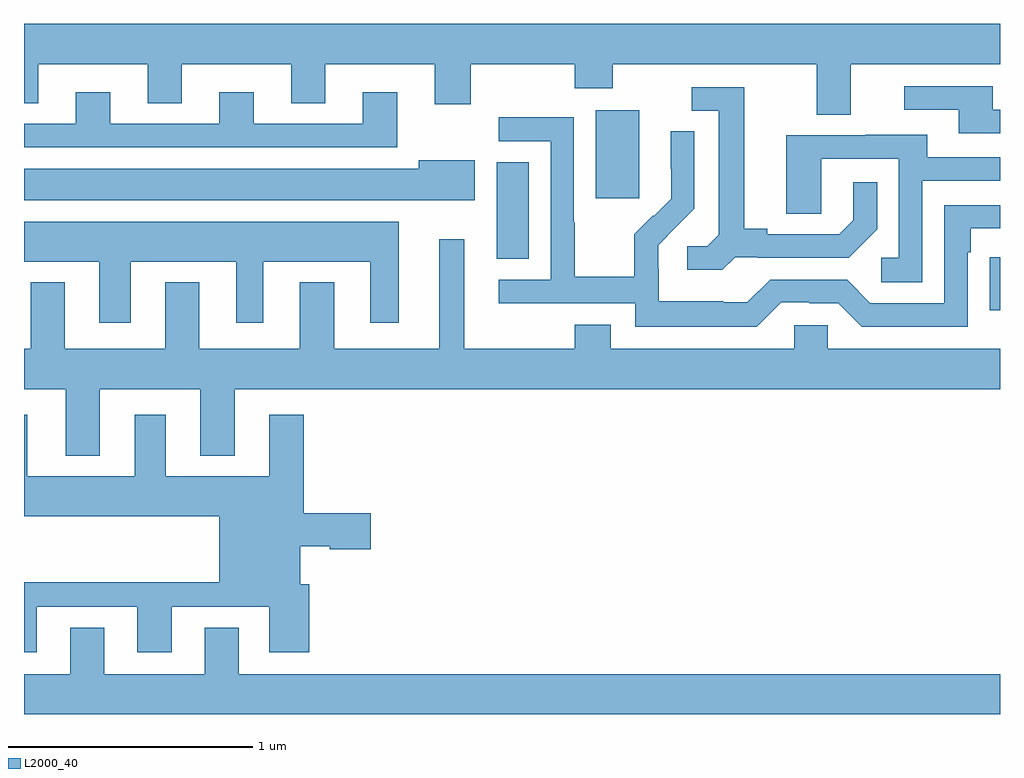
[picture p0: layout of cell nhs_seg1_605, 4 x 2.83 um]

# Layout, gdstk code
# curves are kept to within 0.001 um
import gdstk
lib = gdstk.Library(unit=1e-6, precision=1e-09)
def R(c, l, rs):  # rectangles x0, y0, x1, y1
    for r in rs: c.add(gdstk.rectangle(r[:2], r[2:], *l))
def P(c, l, *ps):  # polygons
    for p in ps: c.add(gdstk.Polygon(p, *l))
L2000_40 = (2000, 40)

nhs_seg1_605 = lib.new_cell('nhs_seg1_605')
R(nhs_seg1_605, L2000_40, [(146.959,576.03,147,576.248), (144.938,576.241,145.069,576.638), (145.343,576.489,145.522,576.85)])
P(nhs_seg1_605, L2000_40, [(146.389,577.04),(147,577.04),(147,577.204),(143,577.204),(143,576.88),(143.059,576.88),(143.059,577.04),(143.507,577.04),(143.507,576.88),(143.647,576.88),(143.647,577.04),(144.095,577.04),(144.095,576.88),(144.235,576.88),(144.235,577.04),(144.683,577.04),(144.683,576.876),(144.831,576.876),(144.831,577.04),(145.258,577.04),(145.258,576.941),(145.413,576.941),(145.413,577.04),(146.249,577.04),(146.249,576.832),(146.389,576.832)],
  [(147,576.852),(146.971,576.852),(146.971,576.948),(146.607,576.948),(146.607,576.852),(146.831,576.852),(146.831,576.756),(147,576.756)],
  [(145.914,576.249),(146.008,576.249),(146.008,576.246),(146.38,576.246),(146.496,576.362),(146.496,576.556),(146.399,576.556),(146.399,576.399),(146.342,576.342),(146.047,576.342),(146.047,576.365),(145.951,576.365),(145.951,576.945),(145.737,576.945),(145.737,576.849),(145.847,576.849),(145.847,576.341),(145.8,576.294),(145.719,576.294),(145.719,576.197),(145.862,576.197)],
  [(144.529,576.925),(144.389,576.925),(144.389,576.795),(143.941,576.795),(143.941,576.925),(143.801,576.925),(143.801,576.795),(143.353,576.795),(143.353,576.925),(143.213,576.925),(143.213,576.795),(143,576.795),(143,576.699),(144.529,576.699)],
  [(146.103,576.063),(146.219,576.063),(146.219,576.06),(146.337,576.06),(146.433,575.964),(146.868,575.964),(146.868,576.269),(146.881,576.269),(146.881,576.366),(147,576.366),(147,576.462),(146.772,576.462),(146.772,576.06),(146.469,576.06),(146.373,576.156),(146.058,576.156),(145.965,576.063),(145.865,576.063),(145.865,576.067),(145.602,576.067),(145.602,576.201),(145.6,576.201),(145.6,576.298),(145.746,576.446),(145.746,576.764),(145.65,576.764),(145.65,576.61),(145.652,576.61),(145.652,576.488),(145.581,576.417),(145.578,576.42),(145.501,576.343),(145.501,576.169),(145.257,576.169),(145.257,576.392),(145.254,576.392),(145.254,576.822),(144.945,576.822),(144.945,576.723),(145.158,576.723),(145.158,576.156),(144.945,576.156),(144.945,576.06),(145.506,576.06),(145.506,575.963),(146.003,575.963)],
  [(146.682,576.561),(147,576.561),(147,576.657),(146.701,576.657),(146.701,576.751),(146.447,576.751),(146.447,576.747),(146.123,576.747),(146.123,576.427),(146.268,576.427),(146.268,576.651),(146.586,576.651),(146.586,576.246),(146.514,576.246),(146.514,576.145),(146.682,576.145)],
  [(144.847,576.646),(144.617,576.646),(144.617,576.61),(143,576.61),(143,576.482),(144.847,576.482)],
  [(143.437,576.23),(143.87,576.23),(143.87,575.979),(143.98,575.979),(143.98,576.23),(144.419,576.23),(144.419,575.979),(144.535,575.979),(144.535,576.394),(143,576.394),(143,576.23),(143.309,576.23),(143.309,575.979),(143.437,575.979)],
  [(143.311,575.708),(143.723,575.708),(143.723,575.435),(143.863,575.435),(143.863,575.708),(147,575.708),(147,575.872),(146.295,575.872),(146.295,575.97),(146.157,575.97),(146.157,575.872),(145.405,575.872),(145.405,575.971),(145.258,575.971),(145.258,575.872),(144.805,575.872),(144.805,576.322),(144.701,576.322),(144.701,575.872),(144.271,575.872),(144.271,576.145),(144.131,576.145),(144.131,575.872),(143.719,575.872),(143.719,576.145),(143.579,576.145),(143.579,575.872),(143.167,575.872),(143.167,576.145),(143.027,576.145),(143.027,575.872),(143,575.872),(143,575.708),(143.171,575.708),(143.171,575.435),(143.311,575.435)],
  [(143.053,574.815),(143.465,574.815),(143.465,574.629),(143.605,574.629),(143.605,574.815),(144.005,574.815),(144.005,574.629),(144.17,574.629),(144.17,574.908),(144.133,574.908),(144.133,575.063),(144.253,575.063),(144.253,575.051),(144.421,575.051),(144.421,575.198),(144.146,575.198),(144.146,575.602),(144.005,575.602),(144.005,575.35),(143.581,575.35),(143.581,575.602),(143.453,575.602),(143.453,575.35),(143.014,575.35),(143.014,575.602),(143,575.602),(143,575.186),(143.801,575.186),(143.801,574.916),(143,574.916),(143,574.629),(143.053,574.629)],
  [(147,574.54),(143.881,574.54),(143.881,574.73),(143.741,574.73),(143.741,574.54),(143.329,574.54),(143.329,574.73),(143.189,574.73),(143.189,574.54),(143,574.54),(143,574.376),(147,574.376)])

lib.write_gds('nhs_seg1_605.gds')
